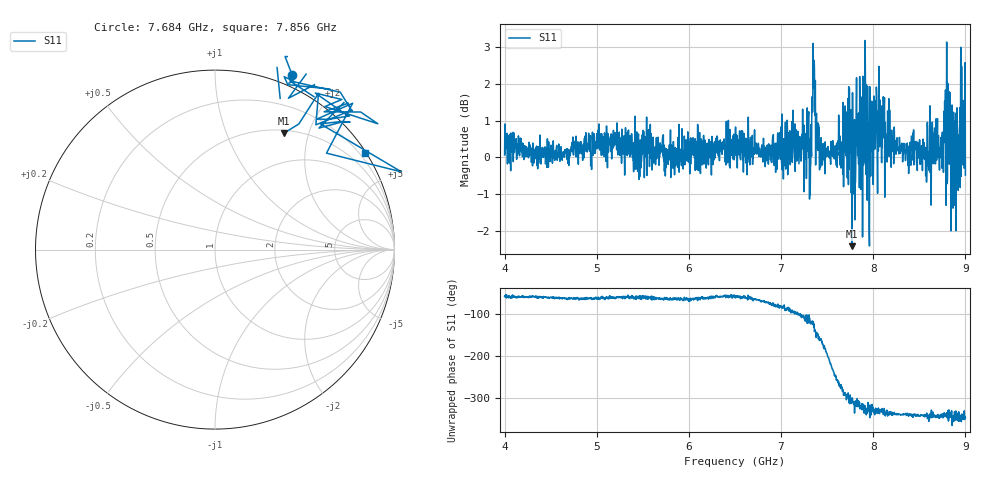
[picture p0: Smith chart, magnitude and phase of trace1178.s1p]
! Created with skrf 1.8.0 (http://scikit-rf.org).
# Hz S RI R 50.0
!freq ReS11 ImS11
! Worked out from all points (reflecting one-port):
!   1601 points, 4 GHz to 9 GHz, reference 50 ohm
!   lowest |S11| = -2.4 dB at 7.772 GHz (marker M1), VSWR 7.20, Z = 26.8 + j81.3 ohm
!   phase of S11 starts at -58 deg and turns -290 deg over the sweep
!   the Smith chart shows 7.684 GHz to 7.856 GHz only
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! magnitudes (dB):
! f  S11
! 4 GHz  0.1
! 4.625 GHz  -0.1
! 5.25 GHz  0.0
! 5.875 GHz  0.1
! 6.5 GHz  0.3
! 7.125 GHz  0.5
! 7.297 GHz  1.1
! 7.359 GHz  2.6
! 7.4 GHz  0.2
! 7.441 GHz  0.0
! 7.656 GHz  0.4
! 7.734 GHz  1.9
! 7.75 GHz  0.2
! 7.772 GHz  -2.4
! 7.788 GHz  0.3
! 7.834 GHz  1.2
! 7.875 GHz  -0.2
! 7.928 GHz  0.3
! 7.947 GHz  0.8
! 7.988 GHz  1.4
! 8.097 GHz  0.3
! 8.15 GHz  -0.1
! 8.375 GHz  0.0
! 8.738 GHz  0.4
! 8.816 GHz  0.1
! 8.9 GHz  -2.0
! 8.972 GHz  0.8
! 9 GHz  -0.5
